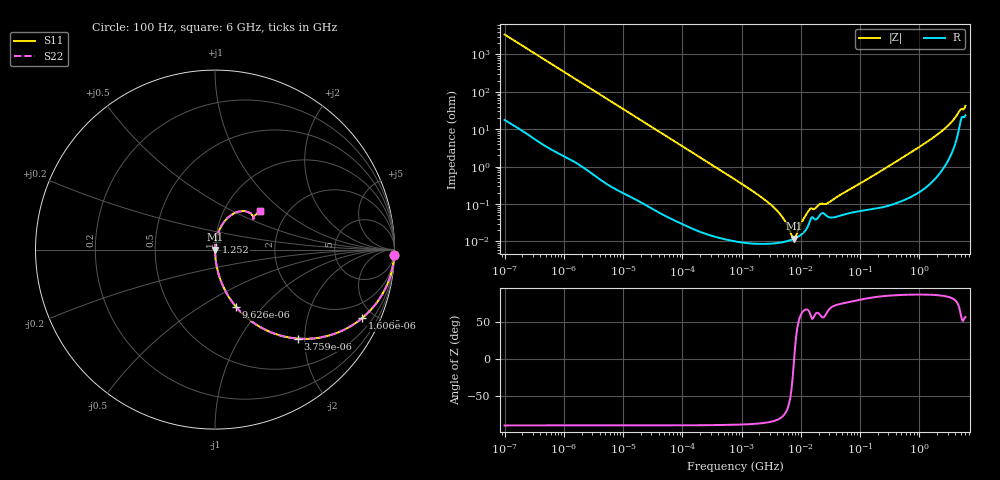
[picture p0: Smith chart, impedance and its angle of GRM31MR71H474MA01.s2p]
!Murata Part Number: GRM31MR71H474MA01
!These Parameters are Measured in Series Mode Connection
!Data Generated on Mar 30, 2021
!  o--ll--o
!Port1  Port2
!  o------o
!Operation Temp=25[degC], DC Bias Voltage=0[V]
!Freq. Start=100[Hz] Stop=6[GHz] 401[Steps]
# Hz S RI R 50
!Freq.(Hz) S11(Real) S11(Imag) S21(Real) S21(Imag) S12(Real) S12(Imag) S22(Real) S22(Imag)
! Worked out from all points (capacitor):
!   401 points, 100 Hz to 6 GHz, reference 50 ohm
!   read as one part in series: C = 463 nF near 109 Hz
!   lowest |Z| = 11.8 mohm at 7.6 MHz (marker M1)
!   series resonance near 7.722 MHz, so ESL is about 920 pH
!   S11 on the Smith chart (normalised r, x): 100 Hz: 1, -69; 1.606 kHz: 1.03, -4.31; 3.759 kHz: 1.01, -1.85; 9.626 kHz: 1.00, -0.72; 1.252 GHz: 1.01, +0.08; 6 GHz: 1.47, +0.70
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100  0.999 -0.0291  0.000999 0.0291  0.000999 0.0291  0.999 -0.0291
458  0.982 -0.1305  0.018 0.1305  0.018 0.1305  0.982 -0.1305
938  0.9301 -0.2522  0.0699 0.2522  0.0699 0.2522  0.9301 -0.2522
1606  0.8216 -0.38  0.1784 0.38  0.1784 0.38  0.8216 -0.38
2008  0.7473 -0.4316  0.2527 0.4316  0.2527 0.4316  0.7473 -0.4316
3759  0.4608 -0.4958  0.5392 0.4958  0.5392 0.4958  0.4608 -0.4958
9626  0.1171 -0.3188  0.8829 0.3188  0.8829 0.3188  0.1171 -0.3188
40335  0.00806 -0.0861  0.9919 0.0861  0.9919 0.0861  0.00806 -0.0861
774597  0.000121 -0.00453  0.9999 0.00453  0.9999 0.00453  0.000121 -0.00453
3712478  8.96e-05 -0.000737  0.9999 0.000737  0.9999 0.000737  8.96e-05 -0.000737
5079039  9.62e-05 -0.000399  0.9999 0.000399  0.9999 0.000399  9.62e-05 -0.000399
6948629  0.000111 -9.82e-05  0.9999 9.82e-05  0.9999 9.82e-05  0.000111 -9.82e-05
7599586  0.000117 -1.47e-05  0.9999 1.47e-05  0.9999 1.47e-05  0.000117 -1.47e-05
8311524  0.000125 6.94e-05  0.9999 -6.94e-05  0.9999 -6.94e-05  0.000125 6.94e-05
1.243624e7  0.000215 0.000491  0.9998 -0.000491  0.9998 -0.000491  0.000215 0.000491
1.555665e7  0.000449 0.000609  0.9996 -0.000609  0.9996 -0.000609  0.000449 0.000609
2.911731e7  0.000452 0.000976  0.9995 -0.000976  0.9995 -0.000976  0.000452 0.000976
3.124326e8  0.00102 0.0105  0.999 -0.0105  0.999 -0.0105  0.00102 0.0105
1.251881e9  0.00443 0.0421  0.9956 -0.0421  0.9956 -0.0421  0.00443 0.0421
3.505958e9  0.0437 0.1446  0.9563 -0.1446  0.9563 -0.1446  0.0437 0.1446
4.586474e9  0.1325 0.2126  0.8675 -0.2126  0.8675 -0.2126  0.1325 0.2126
6e9  0.2513 0.2132  0.7487 -0.2132  0.7487 -0.2132  0.2513 0.2132
